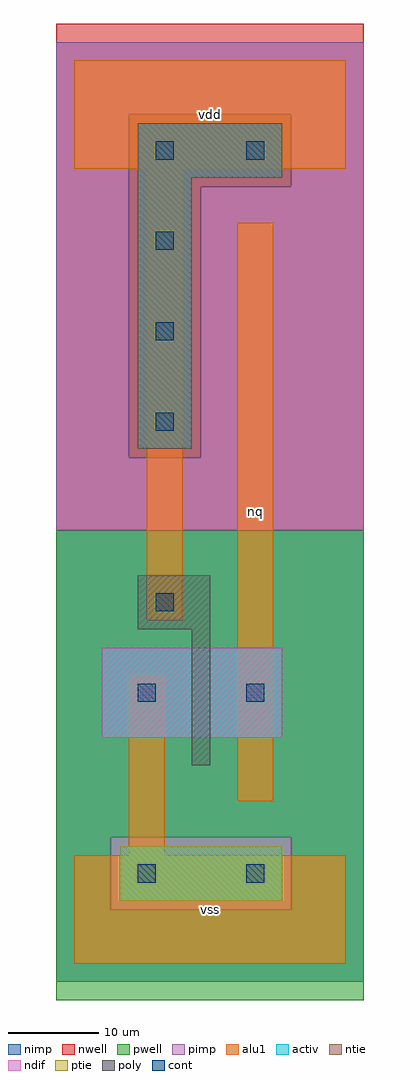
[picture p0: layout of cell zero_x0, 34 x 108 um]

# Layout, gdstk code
import gdstk
lib = gdstk.Library(unit=1e-6, precision=1e-09)
def R(c, l, rs):  # rectangles x0, y0, x1, y1
    for r in rs: c.add(gdstk.rectangle(r[:2], r[2:], *l))
def A(c, l, x, y, w, h, nx, ny, dx, dy):  # array of equal rectangles
    R(c, l, [(x+i*dx, y+j*dy, x+i*dx+w, y+j*dy+h) for i in range(nx) for j in range(ny)])
ndif = (3, 0)
ntie = (5, 0)
ptie = (6, 0)
cont = (25, 0)
pwell = (41, 0)
nwell = (42, 0)
activ = (43, 0)
pimp = (44, 0)
nimp = (45, 0)
poly = (46, 0)
alu1 = (49, 0)

zero_x0 = lib.new_cell('zero_x0')
R(zero_x0, ndif, [(3,25,23,35)])
R(zero_x0, ntie, [(7,57,13,87), (7,87,23,93)])
R(zero_x0, ptie, [(5,7,23,13)])
A(zero_x0, cont, 9, 59, 2, 2, 1, 4, 0, 10)
R(zero_x0, cont, [(7,9,9,11), (19,9,21,11), (7,29,9,31), (19,29,21,31), (9,39,11,41), (19,89,21,91)])
R(zero_x0, pwell, [(-2,-4,32,48)])
R(zero_x0, nwell, [(-2,48,32,104)])
R(zero_x0, activ, [(5,7,23,13), (3,25,23,35), (7,57,13,87), (7,87,23,93)])
R(zero_x0, pimp, [(4,6,24,14), (-2,48,32,56), (-2,56,6,94), (14,56,32,86), (24,86,32,94), (-2,94,32,102)])
R(zero_x0, nimp, [(-2,-2,32,6), (-2,6,4,14), (24,6,32,14), (-2,14,32,48), (6,56,14,86), (6,86,24,94)])
R(zero_x0, poly, [(13,22,15,37), (7,37,15,43)])
R(zero_x0, alu1, [(0,0,30,12), (6,12,10,32), (18,18,22,82), (8,38,12,88), (0,88,30,100)])
zero_x0.add(gdstk.Label('vss', (15,6), layer=49, texttype=0))
zero_x0.add(gdstk.Label('nq', (20,50), layer=49, texttype=0))
zero_x0.add(gdstk.Label('vdd', (15,94), layer=49, texttype=0))

lib.write_gds('zero_x0.gds')
